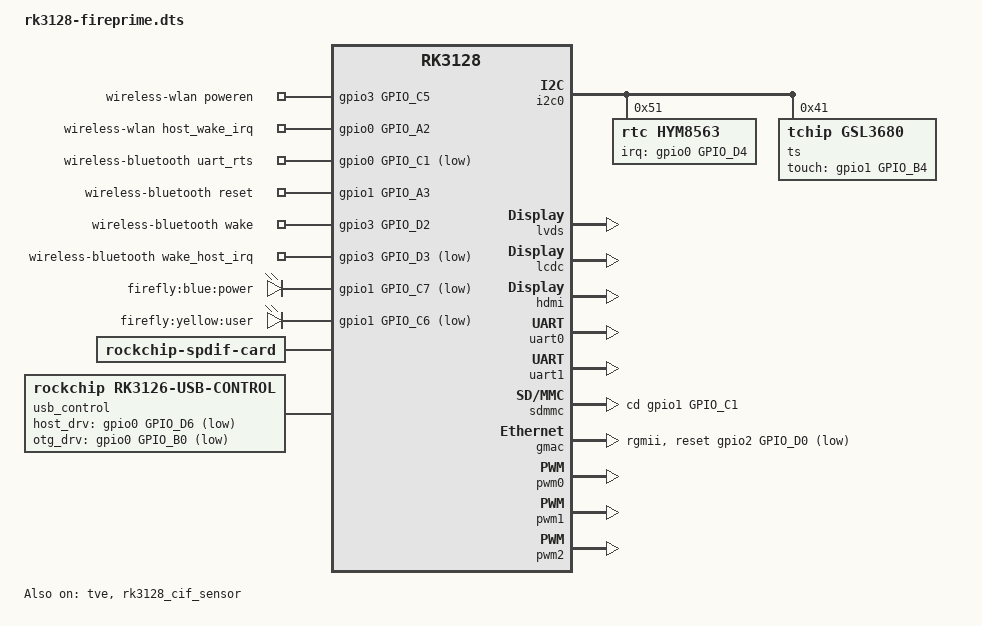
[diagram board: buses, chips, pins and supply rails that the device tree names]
/dts-v1/;

#include "rk3128.dtsi"
#include "rk3128-cif-sensor.dtsi"
#include "rk312x-sdk.dtsi"
#include "lcd-box.dtsi"
#include <dt-bindings/input/input.h>

/ {
	 compatible = "rockchip,rk3128";
	/*
        backlight: backlight {
                compatible = "pwm-backlight";
                pwms = <&pwm0 0 25000>;
                brightness-levels = <0 1 2 3 4 5 6 7 8 9 10 11 12 13 14 15 16 17 18 19 20 21 22 23 24 25 26 27 28 29 30 31 32 33 34 35 36 37 38 39 40 41 42 43 44 45 46 47 48 49 50 51 52 53 54 55 56 57 58 59 60 61 62 63 64 65 66 67 68 69 70 71 72 73 74 75 76 77 78 79 80 81 82 83 84 85 86 87 88 89 90 91 92 93 94 95 96 97 98 99 100 101 102 103 104 105 106 107 108 109 110 111 112 113 114 115 116 117 118 119 120 121 122 123 124 125 126 127 128 129 130 131 132 133 134 135 136 137 138 139 140 141 142 143 144 145 146 147 148 149 150 151 152 153 154 155 156 157 158 159 160 161 162 163 164 165 166 167 168 169 170 171 172 173 174 175 176 177 178 179 180 181 182 183 184 185 186 187 188 189 190 191 192 193 194 195 196 197 198 199 200 201 202 203 204 205 206 207 208 209 210 211 212 213 214 215 216 217 218 219 220 221 222 223 224 225 226 227 228 229 230 231 232 233 234 235 236 237 238 239 240 241 242 243 244 245 246 247 248 249 250 251 252 253 254 255>;
                default-brightness-level = <128>;
                enable-gpios = <&gpio0 GPIO_D3 GPIO_ACTIVE_HIGH>;
        };
	*/
        wireless-wlan {
                compatible = "wlan-platdata";

                /* wifi_chip_type - wifi chip define
                * bcmwifi ==> like ap6xxx, rk90, ...x;
                * rtkwifi ==> like rtl8188xx, rtl8723xx, ...;
                * esp8089 ==> esp8089;
                * other   ==> for other wifi;
                */
                wifi_chip_type = "ap6212a";
                sdio_vref = <3300>; //1800mv or 3300mv

                //keep_wifi_power_on;
                //power_ctrl_by_pmu;
                power_pmu_regulator = "vccio";
                power_pmu_enable_level = <1>; //1->HIGH, 0->LOW

                //vref_ctrl_enable;
                //vref_ctrl_gpio = <&gpio0 GPIO_A2 GPIO_ACTIVE_HIGH>;
                //vref_pmu_regulator = "act_ldo3";
                //vref_pmu_enable_level = <1>; //1->HIGH, 0->LOW

                WIFI,poweren_gpio = <&gpio3 GPIO_C5 GPIO_ACTIVE_HIGH>;
                WIFI,host_wake_irq = <&gpio0 GPIO_A2 GPIO_ACTIVE_HIGH>;
                //WIFI,reset_gpio = <&gpio0 GPIO_A2 GPIO_ACTIVE_LOW>;

                status = "okay";
        };

                wireless-bluetooth {
                compatible = "bluetooth-platdata";

                //wifi-bt-power-toggle;

                uart_rts_gpios = <&gpio0 GPIO_C1 GPIO_ACTIVE_LOW>;
                pinctrl-names = "default","rts_gpio";
                pinctrl-0 = <&uart0_rts>;
                pinctrl-1 = <&uart0_rts_gpio>;

                //BT,power_gpio = <&gpio1 GPIO_B3 GPIO_ACTIVE_HIGH>;
                BT,reset_gpio = <&gpio1 GPIO_A3 GPIO_ACTIVE_HIGH>;
                BT,wake_gpio = <&gpio3 GPIO_D2 GPIO_ACTIVE_HIGH>;
                BT,wake_host_irq = <&gpio3 GPIO_D3 GPIO_ACTIVE_LOW>;

        status = "okay";
    };

       leds {
       compatible = "gpio-leds";
       power {
           label = "firefly:blue:power";
           linux,default-trigger = "ir-power-click";
           default-state = "on";
           gpios = <&gpio1 GPIO_C7 GPIO_ACTIVE_LOW>;
       };
        user {
           label = "firefly:yellow:user";
           linux,default-trigger = "ir-user-click";
           default-state = "off";
		   gpios = <&gpio1 GPIO_C6 GPIO_ACTIVE_LOW>;
           gpios-v01 = <&gpio2 GPIO_A3 GPIO_ACTIVE_LOW>;
       	   };
        };

        rockchip-spdif-card {
                compatible = "rockchip-spdif-card";
                dais {
                        dai0 {
                                audio-codec = <&codec_hdmi_spdif>;
                                audio-controller = <&spdif>;
                        };
                };
        };

	usb_control {
		compatible = "rockchip,rk3126-usb-control";

		host_drv_gpio = <&gpio0 GPIO_D6 GPIO_ACTIVE_LOW>;
		otg_drv_gpio = <&gpio0 GPIO_B0 GPIO_ACTIVE_LOW>;

		rockchip,remote_wakeup;
		rockchip,usb_irq_wakeup;
	};
        rockchip_suspend {
               rockchip,ctrbits = <
                       (0
                       |RKPM_CTR_PWR_DMNS
                       |RKPM_CTR_GTCLKS
                       |RKPM_CTR_PLLS
                       //|RKPM_CTR_ARMOFF_LPMD
                       |RKPM_CTR_DDR
                       |RKPM_CTR_IDLESRAM_MD
                       |RKPM_CTR_DDR
                       //|RKPM_CTR_BUS_IDLE
                       //|RKPM_CTR_VOLTS
                       //|RKPM_CTR_VOL_PWM1
                       //|RKPM_CTR_VOL_PWM2
                       )
               >;
               rockchip,pmic-suspend_gpios = <GPIO3_C1>;
        };

test-power {
        status = "okay";
};
};

&i2c0 {
        status = "okay";
        rtc@51 {
                compatible = "rtc,hym8563";
                reg = <0x51>;
                irq_gpio = <&gpio0 GPIO_D4 IRQ_TYPE_EDGE_FALLING>;
        };
		ts@41 { 
			compatible = "tchip,gsl3680";
			reg = <0x41>;
			touch-gpio = <&gpio1 GPIO_B4 IRQ_TYPE_EDGE_RISING>;
			//reset-gpio = <&gpio8 GPIO_A6 GPIO_ACTIVE_LOW>;
			max-x = <1280>;
			max-y = <800>;
		};   
};

&fb {
       rockchip,disp-mode = <NO_DUAL>;
       rockchip,disp-policy = <DISPLAY_POLICY_BOX>;
       rockchip,uboot-logo-on = <1>;
};

&disp_timings {
        native-mode = <&timing0>;
};

&rk_screen {
	display-timings = <&disp_timings>;
};

&lvds {
	status = "okay";

	pinctrl-names = "lcdc";
	pinctrl-0 = <&lcdc0_lcdc_d>;
};

&lcdc {
	status = "okay";
        rockchip,fb-win-map = <FB0_WIN0_FB1_WIN1_FB2_WIN2>;
};

&hdmi {
        status = "okay";
	rockchip,hdmi_audio_source = <1>;
};
&tve {
        status = "okay";
        test_mode = <0>;
};

&uart0 {
        status = "okay";
	clock-frequency = "<24000000>";
        dma-names = "!tx", "!rx";
        pinctrl-0 = <&uart0_xfer &uart0_cts>;
};
&uart1 {
	status = "okay";
};

&sdmmc {
	status = "okay";
	cd-gpios = <&gpio1 GPIO_C1 GPIO_ACTIVE_HIGH>;/*CD GPIO*/
};
&key {
		power-key {
			gpios = <&gpio3 GPIO_C7 GPIO_ACTIVE_LOW>;
			linux,code = <116>;
			label = "power";
			gpio-key,wakeup;
		};
                recovery-key {
                        linux,code = <113>;
                        label = "recovery";
                        rockchip,adc_value = <4>;
                };
};

&dwc_control_usb {
	usb_uart {
		status = "disabled";
	};
};
&codec {
	//spk_ctl_io = <&gpio3 GPIO_C5 GPIO_ACTIVE_HIGH>;
	//aux_det_io = <&gpio0 GPIO_D3 GPIO_ACTIVE_HIGH>;
        spk-mute-delay = <200>;
        hp-mute-delay = <100>;
        rk312x_for_mid = <0>;
        is_rk3128 = <0>;
        spk_volume = <100>;
        hp_volume = <100>;
        capture_volume = <26>;
        gpio_debug = <1>;
        codec_hp_det = <0>;
};

&rk3128_cif_sensor{
	status = "okay";
};

&i2c2 {
	status = "disabled";
};

&gmac_clkin {
        clock-frequency = <125000000>;
};

&gmac {
        //pmu_regulator = "act_ldo5";
        //pmu_enable_level = <1>; //1->HIGH, 0->LOW
        //power-gpio = <&gpio0 GPIO_A6 GPIO_ACTIVE_HIGH>;
        reset-gpio = <&gpio2 GPIO_D0 GPIO_ACTIVE_LOW>;
        phyirq-gpio = <&gpio0 GPIO_D0 GPIO_ACTIVE_LOW>;
        phy-mode = "rgmii";
        clock_in_out = "input";
        tx_delay = <0x30>;
        rx_delay = <0x10>;
};

&pwm0 {
        status = "okay";
};
&pwm1 {
        status = "okay";
};
&pwm2 {
        status = "okay";
};

&clk_core_dvfs_table {
	operating-points = <
		/* KHz    uV */
		216000 925000
		408000 925000
		600000 950000
		696000 975000
		816000 1050000
		1008000 1175000
		1200000 1300000
		1296000 1350000
		1320000 1375000
		>;
	virt-temp-limit-1-cpu-busy = <
	/* target-temp	limit-freq */
		75	1008000
		85	1200000
		95	1200000
		100	1200000
		>;
	virt-temp-limit-2-cpu-busy = <
	/* target-temp	limit-freq */
		75	912000
		85	1008000
		95	1104000
		100	1200000
		>;
	virt-temp-limit-3-cpu-busy = <
	/* target-temp	limit-freq */
		75	816000
		85	912000
		95	100800
		100	110400
		>;
	virt-temp-limit-4-cpu-busy = <
	/* target-temp	limit-freq */
		75	816000
		85	912000
		95	100800
		100	110400
		>;
	temp-limit-enable = <1>;
	target-temp = <85>;
	status="okay";
};

&clk_gpu_dvfs_table {
	operating-points = <
		/* KHz    uV */
		200000 950000
		300000 975000
		400000 1075000
		//480000 1175000
		>;
	status="okay";
};

&clk_ddr_dvfs_table {
	operating-points = <
		/* KHz    uV */
		200000 1250000
		300000 1250000
		400000 1250000
		>;

	operating-points-v01 = <
		/* KHz    uV */
		200000 950000
		300000 950000
		400000 1200000
		533000 1250000
		>;

	freq-table = <
		/*status		freq(KHz)*/
		SYS_STATUS_NORMAL	500000
		SYS_STATUS_SUSPEND	200000
		SYS_STATUS_VIDEO_1080P  240000
		SYS_STATUS_VIDEO_4K     400000
		SYS_STATUS_PERFORMANCE  528000
		SYS_STATUS_DUALVIEW	400000
		SYS_STATUS_BOOST	324000
		SYS_STATUS_ISP		533000
		>;
	auto-freq-table = <
		240000
		324000
		396000
		528000
		>;
	auto-freq=<0>;
	status="okay";
};

&remotectl {
        handle_cpu_id = <2>;
        ir_key1{
                rockchip,usercode = <0xff00>;
                rockchip,key_table =
                       <0xeb   KEY_POWER>,
                       <0xa3   250>,
                       <0xec   KEY_MENU>,
                       <0xfc   KEY_UP>,
                       <0xfd   KEY_DOWN>,
                       <0xf1   KEY_LEFT>,
                       <0xe5   KEY_RIGHT>,
                       <0xf8   KEY_REPLY>,
                       <0xb7   KEY_HOME>,
                       <0xfe   KEY_BACK>,
                       <0xa7   KEY_VOLUMEDOWN>,
                       <0xf4   KEY_VOLUMEUP>;
        };
};
